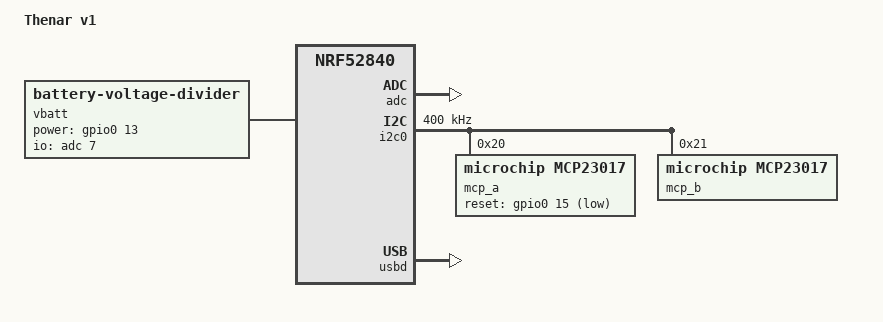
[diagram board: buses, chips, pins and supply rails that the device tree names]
// SPDX-License-Identifier: MIT
//
// Thenar v1: MS88SF3-nRF52840 module on a custom keyboard PCB.
//
// Pin assignments below are STARTING POINTS keyed off v1/ergogen/config.yaml's
// placeholder MS88SF3 pad assignments (P14=USB_DP, P15=USB_DM, P20=I2C_SCL,
// P21=I2C_SDA, P22=I2C_RESET). Confirm against the Minew datasheet pad-to-
// nRF52840-pin map before fabbing the PCB, then update both this file
// AND v1/ergogen/config.yaml so the routing matches.

/dts-v1/;
#include <nordic/nrf52840_qiaa.dtsi>
#include "thenar_v1-pinctrl.dtsi"

/ {
    model = "Thenar v1";
    compatible = "thenar,thenar-v1";

    chosen {
        zephyr,code-partition = &code_partition;
        zephyr,sram = &sram0;
        zephyr,flash = &flash0;
        zephyr,console = &cdc_acm_uart;
        zephyr,uart-mcumgr = &cdc_acm_uart;
        zephyr,bt-mon-uart = &cdc_acm_uart;
        zephyr,bt-c2h-uart = &cdc_acm_uart;
        zephyr,uart-pipe = &cdc_acm_uart;
        zephyr,bt-hci = &bt_hci_controller;
        zmk,battery = &vbatt;
    };

    // Battery voltage divider on a SAADC channel. Update the gpios pin
    // once the PCB routing pins this to a specific MS88SF3 pad.
    vbatt: vbatt {
        compatible = "zmk,battery-voltage-divider";
        io-channels = <&adc 7>;
        output-ohms = <2000000>;
        full-ohms = <(2000000 + 820000)>;
        power-gpios = <&gpio0 13 GPIO_ACTIVE_HIGH>;
    };
};

&adc {
    status = "okay";
};

&gpiote {
    status = "okay";
};

&gpio0 {
    status = "okay";
};

&gpio1 {
    status = "okay";
};

// I2C bus used for the two MCP23017 expanders. Default to 400 kHz; bump
// to 1 MHz only after smoke testing.
&i2c0 {
    compatible = "nordic,nrf-twi";
    status = "okay";
    clock-frequency = <I2C_BITRATE_FAST>;
    pinctrl-0 = <&i2c0_default>;
    pinctrl-1 = <&i2c0_sleep>;
    pinctrl-names = "default", "sleep";

    mcp_a: mcp23017@20 {
        compatible = "microchip,mcp23017";
        status = "okay";
        reg = <0x20>;
        gpio-controller;
        #gpio-cells = <2>;
        ngpios = <16>;
        // RESET is a board-wide net wired to a single MCU GPIO; both
        // expanders share it. The driver pulses it on init.
        reset-gpios = <&gpio0 15 GPIO_ACTIVE_LOW>;
    };

    mcp_b: mcp23017@21 {
        compatible = "microchip,mcp23017";
        status = "okay";
        reg = <0x21>;
        gpio-controller;
        #gpio-cells = <2>;
        ngpios = <16>;
        // reset-gpios omitted - same net is owned by mcp_a's binding.
    };
};

&usbd {
    status = "okay";
    cdc_acm_uart: cdc_acm_uart {
        compatible = "zephyr,cdc-acm-uart";
    };
};

zephyr_udc0: &usbd {
    status = "okay";
};

&flash0 {
    partitions {
        compatible = "fixed-partitions";
        #address-cells = <1>;
        #size-cells = <1>;

        // Match nice_nano_v2 / Adafruit nRF52 bootloader layout so the
        // same UF2 path works.
        sd_partition: partition@0 {
            label = "softdevice";
            reg = <0x00000000 0x00026000>;
        };
        code_partition: partition@26000 {
            label = "code_partition";
            reg = <0x00026000 0x000c6000>;
        };
        storage_partition: partition@ec000 {
            label = "storage";
            reg = <0x000ec000 0x00008000>;
        };
        boot_partition: partition@f4000 {
            label = "adafruit_boot";
            reg = <0x000f4000 0x0000c000>;
        };
    };
};

zephyr,user {
    bt_hci_controller: bt-hci-controller {
        compatible = "zephyr,bt-hci-ll-sw-split";
    };
};
